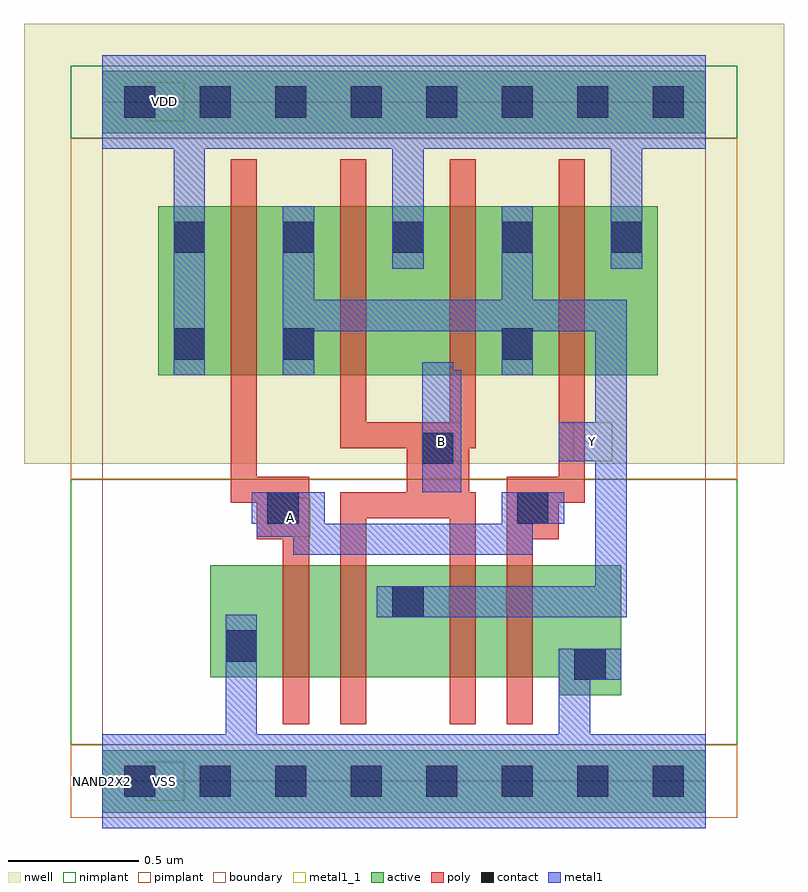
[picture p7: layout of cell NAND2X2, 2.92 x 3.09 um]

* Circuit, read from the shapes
.subckt NAND2X2 A B VDD VSS Y
M1 n1 A VSS VSS nfet w=0.43u l=0.1u
M2 Y B n1 VSS nfet w=0.43u l=0.1u
M3 n2 B Y VSS nfet w=0.43u l=0.1u
M4 VSS A n2 VSS nfet w=0.43u l=0.1u
M5 Y A VDD VDD pfet w=0.65u l=0.1u m=2
M6 VDD B Y VDD pfet w=0.65u l=0.1u m=2
.ends

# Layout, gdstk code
import gdstk
lib = gdstk.Library(unit=1e-6, precision=5e-10)
def R(c, l, rs):  # rectangles x0, y0, x1, y1
    for r in rs: c.add(gdstk.rectangle(r[:2], r[2:], *l))
def A(c, l, x, y, w, h, nx, ny, dx, dy):  # array of equal rectangles
    R(c, l, [(x+i*dx, y+j*dy, x+i*dx+w, y+j*dy+h) for i in range(nx) for j in range(ny)])
active = (1, 0)
nwell = (2, 0)
poly = (3, 0)
nimplant = (4, 0)
pimplant = (5, 0)
contact = (6, 0)
metal1 = (7, 0)
metal1_1 = (7, 1)
boundary = (62, 0)

nand2x2 = lib.new_cell('NAND2X2')
R(nand2x2, active, [(0,-0.12,2.32,0.12), (1.755,0.33,1.995,0.4), (0.415,0.4,1.995,0.83), (0.215,1.56,2.135,2.21), (0,2.49,2.32,2.73)])
R(nand2x2, nwell, [(-0.3,1.22,2.62,2.91)])
R(nand2x2, poly, [(0.695,0.22,0.795,0.93), (0.915,0.22,1.015,1.01), (1.335,0.22,1.435,1.01), (1.555,0.22,1.655,0.93), (0.595,0.93,0.795,1.07), (1.555,0.93,1.755,1.07), (0.915,1.01,1.435,1.11), (0.495,1.07,0.795,1.17), (1.555,1.07,1.855,1.17), (1.17,1.11,1.41,1.28), (0.495,1.17,0.595,2.39), (1.755,1.17,1.855,2.39), (0.915,1.28,1.435,1.38), (0.915,1.38,1.015,2.39), (1.335,1.38,1.435,2.39)])
R(nand2x2, nimplant, [(-0.12,0.14,2.44,1.16), (-0.12,2.47,2.44,2.75)])
R(nand2x2, pimplant, [(-0.12,-0.14,2.44,0.14), (-0.12,1.16,2.44,2.47)])
A(nand2x2, contact, 0.085, -0.06, 0.12, 0.12, 8, 2, 0.29, 2.61)
A(nand2x2, contact, 0.275, 2.03, 0.12, 0.12, 5, 1, 0.42, 0)
R(nand2x2, contact, [(1.815,0.39,1.935,0.51), (0.475,0.46,0.595,0.58), (1.115,0.63,1.235,0.75), (0.635,0.99,0.755,1.11), (1.595,0.99,1.715,1.11), (1.23,1.22,1.35,1.34), (0.275,1.62,0.395,1.74), (0.695,1.62,0.815,1.74), (1.535,1.62,1.655,1.74)])
R(nand2x2, metal1, [(0,-0.18,2.32,0.18), (0.475,0.18,0.595,0.64), (1.755,0.18,1.875,0.39), (1.755,0.39,1.995,0.51), (1.055,0.63,2.015,0.75), (1.895,0.75,2.015,1.23), (0.735,0.87,1.655,0.94), (0.595,0.94,1.655,0.99), (0.575,0.99,0.855,1.11), (1.535,0.99,1.775,1.11), (1.23,1.11,1.38,1.58), (1.755,1.23,2.015,1.38), (1.895,1.38,2.015,1.73), (0.275,1.56,0.395,2.43), (0.695,1.56,0.815,1.73), (1.535,1.56,1.655,1.73), (1.23,1.58,1.35,1.61), (0.695,1.73,2.015,1.85), (0.695,1.85,0.815,2.21), (1.535,1.85,1.655,2.21), (1.115,1.97,1.235,2.43), (1.955,1.97,2.075,2.43), (0,2.43,2.32,2.79)])
R(nand2x2, metal1_1, [(0.165,-0.075,0.315,0.075), (0.65,0.94,0.8,1.09), (1.23,1.23,1.38,1.38), (1.81,1.23,1.96,1.38), (0.165,2.535,0.315,2.685)])
R(nand2x2, boundary, [(0,0,2.32,2.61)])
nand2x2.add(gdstk.Label('NAND2X2', (0,0), layer=63, texttype=0))
nand2x2.add(gdstk.Label('VSS', (0.24,0), layer=7, texttype=3))
nand2x2.add(gdstk.Label('VDD', (0.24,2.61), layer=7, texttype=3))
nand2x2.add(gdstk.Label('A', (0.725,1.015), layer=7, texttype=3))
nand2x2.add(gdstk.Label('B', (1.305,1.305), layer=7, texttype=3))
nand2x2.add(gdstk.Label('Y', (1.885,1.305), layer=7, texttype=3))

lib.write_gds('NAND2X2.gds')
